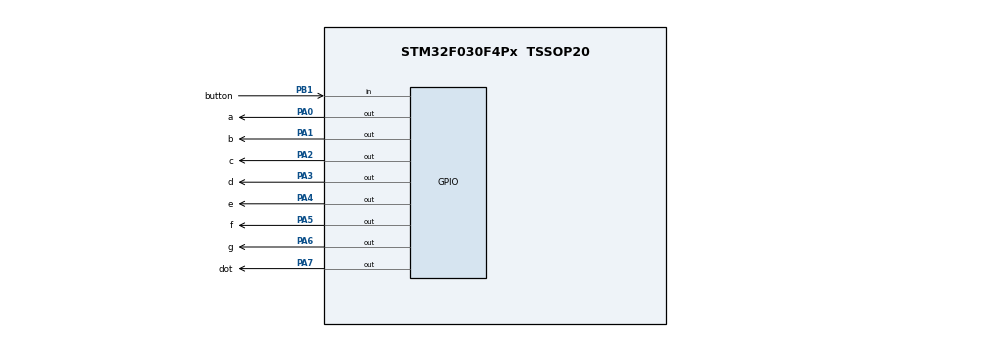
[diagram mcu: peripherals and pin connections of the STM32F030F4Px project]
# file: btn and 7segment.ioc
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Mcu.Family=STM32F0
Mcu.Name=STM32F030F4Px
Mcu.Package=TSSOP20
PA0.GPIO_Label=a
PA0.Signal=GPIO_Output
PA1.GPIO_Label=b
PA1.Signal=GPIO_Output
PA2.GPIO_Label=c
PA2.Signal=GPIO_Output
PA3.GPIO_Label=d
PA3.Signal=GPIO_Output
PA4.GPIO_Label=e
PA4.Signal=GPIO_Output
PA5.GPIO_Label=f
PA5.Signal=GPIO_Output
PA6.GPIO_Label=g
PA6.Signal=GPIO_Output
PA7.GPIO_Label=dot
PA7.Signal=GPIO_Output
PB1.GPIO_Label=button
PB1.Signal=GPIO_Input
ProjectManager.HeapSize=0x200
ProjectManager.StackSize=0x400
ProjectManager.TargetToolchain=STM32CubeIDE
board=custom

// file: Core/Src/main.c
/* USER CODE BEGIN Header */
/**
  ******************************************************************************
  * @file           : main.c
  * @brief          : Main program body
  ******************************************************************************
  * @attention
  *
  * Copyright (c) 2024 STMicroelectronics.
  * All rights reserved.
  *
  * This software is licensed under terms that can be found in the LICENSE file
  * in the root directory of this software component.
  * If no LICENSE file comes with this software, it is provided AS-IS.
  *
  ******************************************************************************
  */
/* USER CODE END Header */
#include "main.h"

void SystemClock_Config(void);
static void MX_GPIO_Init(void);

/* USER CODE BEGIN 0 */
uint8_t seg_table[] = {
	//pgfedcba
	0b11000000,	 // 0
	0b11111001,	 // 1
	0b10100100,	 // 2
	0b10110000,	 // 3
	0b10011001,	 // 4
	0b10010010,	 // 5
	0b10000010,	 // 6
	0b11111000,	 // 7
	0b10000000,	 // 8
	0b10010000	 // 9
};

int length = sizeof(seg_table) / sizeof(seg_table[0]);
/* USER CODE END 0 */

int main(void)
{

  /* MCU Configuration--------------------------------------------------------*/

  /* Reset of all peripherals, Initializes the Flash interface and the Systick. */
  HAL_Init();

  /* Configure the system clock */
  SystemClock_Config();

  /* Initialize all configured peripherals */
  MX_GPIO_Init();
  /* USER CODE BEGIN 2 */
  uint8_t button,button_os;
  uint8_t count = 0;

  button_os = HAL_GPIO_ReadPin(button_GPIO_Port, button_Pin);

  /* USER CODE END 2 */

  /* Infinite loop */
  while (1)
  {

    /* USER CODE BEGIN 3 */
	  button = HAL_GPIO_ReadPin(button_GPIO_Port, button_Pin);  // Input state and store button variable

	  if(button != button_os){

	  		  HAL_Delay(10);            // hold 10ms
	  		  button_os = button;

	  		  if(button == GPIO_PIN_RESET){
                 count ++;

                 if(count == length){
                	 count =0;
                   }
	  		   }
	  	   }

	  GPIOA->ODR = seg_table[count];   //ODR-Output Data Register value

  }
  /* USER CODE END 3 */
}

void SystemClock_Config(void)
{
  RCC_OscInitTypeDef RCC_OscInitStruct = {0};
  RCC_ClkInitTypeDef RCC_ClkInitStruct = {0};

  /** Initializes the RCC Oscillators according to the specified parameters
  * in the RCC_OscInitTypeDef structure.
  */
  RCC_OscInitStruct.OscillatorType = RCC_OSCILLATORTYPE_HSI;
  RCC_OscInitStruct.HSIState = RCC_HSI_ON;
  RCC_OscInitStruct.HSICalibrationValue = RCC_HSICALIBRATION_DEFAULT;
  RCC_OscInitStruct.PLL.PLLState = RCC_PLL_NONE;
  if (HAL_RCC_OscConfig(&RCC_OscInitStruct) != HAL_OK)
  {
    Error_Handler();
  }

  /** Initializes the CPU, AHB and APB buses clocks
  */
  RCC_ClkInitStruct.ClockType = RCC_CLOCKTYPE_HCLK|RCC_CLOCKTYPE_SYSCLK
                              |RCC_CLOCKTYPE_PCLK1;
  RCC_ClkInitStruct.SYSCLKSource = RCC_SYSCLKSOURCE_HSI;
  RCC_ClkInitStruct.AHBCLKDivider = RCC_SYSCLK_DIV1;
  RCC_ClkInitStruct.APB1CLKDivider = RCC_HCLK_DIV1;

  if (HAL_RCC_ClockConfig(&RCC_ClkInitStruct, FLASH_LATENCY_0) != HAL_OK)
  {
    Error_Handler();
  }
}

static void MX_GPIO_Init(void)
{
  GPIO_InitTypeDef GPIO_InitStruct = {0};

  /* GPIO Ports Clock Enable */
  __HAL_RCC_GPIOA_CLK_ENABLE();
  __HAL_RCC_GPIOB_CLK_ENABLE();

  /*Configure GPIO pin Output Level */
  HAL_GPIO_WritePin(GPIOA, a_Pin|b_Pin|c_Pin|d_Pin
                          |e_Pin|f_Pin|g_Pin|dot_Pin, GPIO_PIN_RESET);

  /*Configure GPIO pins : a_Pin b_Pin c_Pin d_Pin
                           e_Pin f_Pin g_Pin dot_Pin */
  GPIO_InitStruct.Pin = a_Pin|b_Pin|c_Pin|d_Pin
                          |e_Pin|f_Pin|g_Pin|dot_Pin;
  GPIO_InitStruct.Mode = GPIO_MODE_OUTPUT_PP;
  GPIO_InitStruct.Pull = GPIO_NOPULL;
  GPIO_InitStruct.Speed = GPIO_SPEED_FREQ_LOW;
  HAL_GPIO_Init(GPIOA, &GPIO_InitStruct);

  /*Configure GPIO pin : button_Pin */
  GPIO_InitStruct.Pin = button_Pin;
  GPIO_InitStruct.Mode = GPIO_MODE_INPUT;
  GPIO_InitStruct.Pull = GPIO_NOPULL;
  HAL_GPIO_Init(button_GPIO_Port, &GPIO_InitStruct);

}

void Error_Handler(void)
{
  __disable_irq();
  while (1)
  {
  }
}
